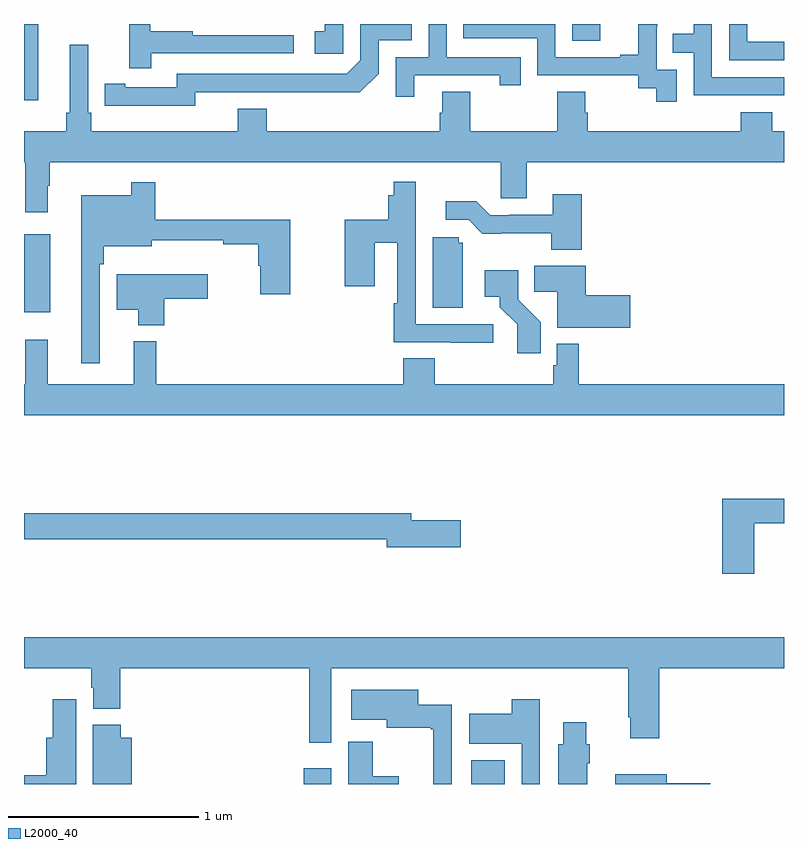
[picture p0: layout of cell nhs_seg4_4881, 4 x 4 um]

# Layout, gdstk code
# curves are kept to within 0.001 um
import gdstk
lib = gdstk.Library(unit=1e-6, precision=1e-09)
def R(c, l, rs):  # rectangles x0, y0, x1, y1
    for r in rs: c.add(gdstk.rectangle(r[:2], r[2:], *l))
def P(c, l, *ps):  # polygons
    for p in ps: c.add(gdstk.Polygon(p, *l))
L2000_40 = (2000, 40)

nhs_seg4_4881 = lib.new_cell('nhs_seg4_4881')
R(nhs_seg4_4881, L2000_40, [(376.472,774.9,376.618,774.982), (377.354,774.9,377.53,775.024), (375,777.383,375.139,777.793), (375,778.5,375.076,778.9), (377.886,778.812,378.034,778.9), (378.892,778.898,379,778.9)])
P(nhs_seg4_4881, L2000_40, [(377.053,778.629),(377.504,778.629),(377.504,778.578),(377.615,778.578),(377.615,778.725),(377.226,778.725),(377.226,778.9),(377.13,778.9),(377.13,778.725),(376.956,778.725),(376.956,778.518),(377.053,778.518)],
  [(375.9,778.542),(376.768,778.541),(376.866,778.638),(376.866,778.815),(377.04,778.815),(377.04,778.9),(376.77,778.9),(376.77,778.71),(376.698,778.638),(375.804,778.638),(375.804,778.566),(375.532,778.566),(375.532,778.586),(375.424,778.586),(375.424,778.47),(375.9,778.469)],
  [(379,778.62),(378.621,778.62),(378.621,778.9),(378.525,778.9),(378.525,778.85),(378.415,778.85),(378.415,778.749),(378.525,778.749),(378.525,778.524),(379,778.524)],
  [(376.68,778.9),(376.583,778.9),(376.583,778.863),(376.53,778.863),(376.53,778.743),(376.68,778.743)],
  [(378.435,778.659),(378.33,778.659),(378.33,778.889),(378.332,778.889),(378.332,778.9),(378.233,778.9),(378.233,778.738),(378.137,778.738),(378.137,778.725),(377.796,778.725),(377.796,778.9),(377.311,778.9),(377.311,778.824),(377.7,778.824),(377.7,778.629),(378.234,778.629),(378.234,778.561),(378.327,778.561),(378.327,778.491),(378.435,778.491)],
  [(375.671,778.746),(376.42,778.746),(376.42,778.842),(375.887,778.842),(375.887,778.862),(375.664,778.862),(375.664,778.9),(375.554,778.9),(375.554,778.668),(375.671,778.668)],
  [(379,778.806),(378.807,778.806),(378.807,778.9),(378.711,778.9),(378.711,778.71),(379,778.71)],
  [(377.508,777.982),(377.647,777.982),(377.647,778.172),(379,778.172),(379,778.336),(378.938,778.336),(378.938,778.435),(378.773,778.435),(378.773,778.336),(377.966,778.336),(377.966,778.434),(377.953,778.434),(377.953,778.544),(377.806,778.544),(377.806,778.336),(377.349,778.336),(377.349,778.544),(377.201,778.544),(377.201,778.434),(377.189,778.434),(377.189,778.336),(376.277,778.336),(376.277,778.453),(376.124,778.453),(376.124,778.336),(375.353,778.336),(375.353,778.432),(375.339,778.432),(375.339,778.792),(375.242,778.792),(375.242,778.432),(375.223,778.432),(375.223,778.336),(375,778.336),(375,778.172),(375.007,778.172),(375.007,777.909),(375.124,777.909),(375.124,778.049),(375.136,778.049),(375.136,778.172),(377.508,778.172)],
  [(377.47,777.321),(377.061,777.321),(377.061,778.069),(376.945,778.069),(376.945,778),(376.916,778),(376.916,777.871),(376.688,777.871),(376.688,777.519),(376.846,777.519),(376.846,777.749),(376.965,777.749),(376.965,777.431),(376.945,777.431),(376.945,777.225),(377.245,777.225),(377.245,777.223),(377.47,777.223)],
  [(375.399,777.635),(375.419,777.635),(375.419,777.731),(375.673,777.731),(375.673,777.761),(376.048,777.761),(376.048,777.742),(376.232,777.742),(376.232,777.627),(376.244,777.627),(376.244,777.477),(376.402,777.477),(376.402,777.871),(375.692,777.871),(375.692,778.066),(375.564,778.066),(375.564,778),(375.302,778),(375.302,777.114),(375.399,777.114)],
  [(377.936,778.003),(377.783,778.003),(377.783,777.897),(377.554,777.897),(377.554,777.894),(377.454,777.894),(377.381,777.967),(377.22,777.967),(377.22,777.87),(377.34,777.87),(377.413,777.797),(377.776,777.798),(377.776,777.713),(377.936,777.713)],
  [(377.308,777.75),(377.289,777.75),(377.289,777.777),(377.15,777.777),(377.15,777.406),(377.308,777.406)],
  [(378.19,777.473),(377.957,777.473),(377.957,777.628),(377.686,777.628),(377.686,777.49),(377.807,777.49),(377.807,777.302),(378.19,777.302)],
  [(377.72,777.33),(377.601,777.449),(377.601,777.604),(377.424,777.604),(377.424,777.464),(377.504,777.464),(377.504,777.409),(377.595,777.319),(377.595,777.168),(377.72,777.168)],
  [(375.737,777.454),(375.967,777.454),(375.967,777.583),(375.488,777.583),(375.488,777.395),(375.602,777.395),(375.602,777.314),(375.737,777.314)],
  [(379,777.004),(377.921,777.004),(377.921,777.217),(377.805,777.217),(377.805,777.105),(377.785,777.105),(377.785,777.004),(377.162,777.004),(377.162,777.14),(376.997,777.14),(376.997,777.004),(375.695,777.004),(375.695,777.229),(375.578,777.229),(375.578,777.004),(375.125,777.004),(375.125,777.238),(375.007,777.238),(375.007,777.004),(375,777.004),(375,776.84),(379,776.84)],
  [(378.844,776.272),(379,776.272),(379,776.401),(378.674,776.401),(378.674,776.007),(378.844,776.007)],
  [(377.299,776.288),(377.038,776.288),(377.038,776.324),(375,776.324),(375,776.188),(376.91,776.188),(376.91,776.146),(377.299,776.146)],
  [(376.617,775.508),(378.179,775.508),(378.179,775.252),(378.191,775.252),(378.191,775.14),(378.344,775.14),(378.344,775.508),(379,775.508),(379,775.672),(375,775.672),(375,775.508),(375.353,775.508),(375.353,775.407),(375.365,775.407),(375.365,775.297),(375.506,775.297),(375.506,775.508),(376.501,775.508),(376.501,775.116),(376.617,775.116)],
  [(377.25,775.318),(377.074,775.318),(377.074,775.396),(376.722,775.396),(376.722,775.238),(376.91,775.238),(376.91,775.196),(377.142,775.196),(377.142,775.189),(377.153,775.189),(377.153,774.9),(377.25,774.9)],
  [(375.274,775.345),(375.152,775.345),(375.152,775.144),(375.116,775.144),(375.116,774.946),(375,774.946),(375,774.9),(375.274,774.9)],
  [(377.715,775.345),(377.566,775.345),(377.566,775.27),(377.343,775.27),(377.343,775.112),(377.619,775.112),(377.619,774.9),(377.715,774.9)],
  [(377.965,775.01),(377.978,775.01),(377.978,775.11),(377.959,775.11),(377.959,775.225),(377.837,775.225),(377.837,775.11),(377.813,775.11),(377.813,774.9),(377.965,774.9)],
  [(375.568,775.144),(375.509,775.144),(375.509,775.212),(375.362,775.212),(375.362,774.9),(375.568,774.9)],
  [(376.972,774.94),(376.836,774.94),(376.836,775.123),(376.706,775.123),(376.706,774.9),(376.972,774.9)],
  [(378.613,774.905),(378.382,774.905),(378.382,774.952),(378.111,774.952),(378.111,774.9),(378.613,774.9)])

lib.write_gds('nhs_seg4_4881.gds')
